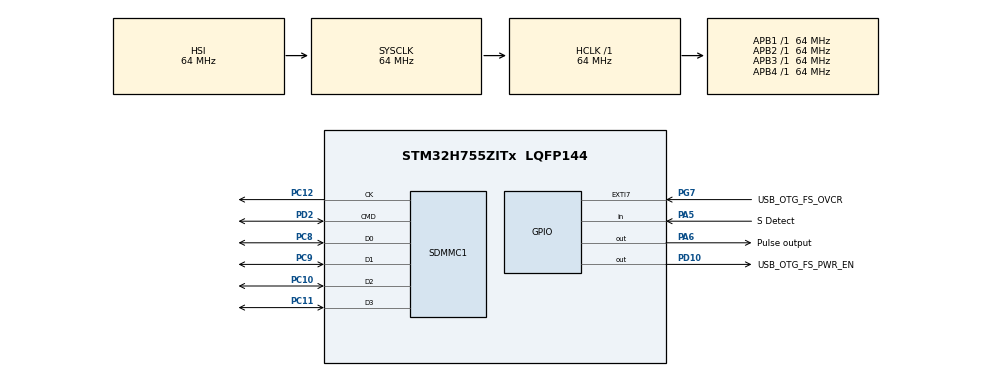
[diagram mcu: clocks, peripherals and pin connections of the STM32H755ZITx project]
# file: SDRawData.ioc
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CortexM4.IPs=FATFS_M4\:I,FREERTOS_M4\:I,IWDG2\:I,RCC,WWDG2\:I,DMA,BDMA,MDMA,NVIC2\:I,USART3,DEBUG,PDM2PCM_M4\:I,PWR,RESMGR_UTILITY,SYS_M4\:I,USB_DEVICE_M4\:I,USB_HOST_M4\:I,CORTEX_M4\:I,GPIO,OPENAMP_M4\:I,VREFBUF,NUCLEO-H755ZI-Q
CortexM7.IPs=FATFS_M7\:I,FREERTOS_M7\:I,IWDG1\:I,RCC\:I,WWDG1\:I,DMA\:I,BDMA\:I,MDMA\:I,NVIC1\:I,USART3\:I,USB_OTG_FS\:I,USB_OTG_FS1\:I,SYS\:I,CORTEX_M7\:I,DEBUG\:I,PDM2PCM_M7\:I,PWR\:I,RESMGR_UTILITY\:I,USB_DEVICE_M7\:I,USB_HOST_M7\:I,GPIO\:I,OPENAMP_M7\:I,VREFBUF\:I,NUCLEO-H755ZI-Q\:I,SDMMC1\:I
CortexM7.Pins=PA5,PA6
Mcu.Family=STM32H7
Mcu.Name=STM32H755ZITx
Mcu.Package=LQFP144
NUCLEO-H755ZI-Q.BUTTON=1
NUCLEO-H755ZI-Q.LD1=true
NUCLEO-H755ZI-Q.LD2=true
NUCLEO-H755ZI-Q.LD3=true
NUCLEO-H755ZI-Q.VCP=true
NVIC1.EXTI15_10_IRQn=true\:0\:0\:false\:false\:true\:false\:true\:true
NVIC1.PriorityGroup=NVIC_PRIORITYGROUP_4
NVIC1.SDMMC1_IRQn=true\:0\:0\:false\:false\:true\:true\:true\:true
NVIC2.PriorityGroup=NVIC_PRIORITYGROUP_4
PA1.PinAttribute=CortexM4
PA1.Signal=ETH_REF_CLK
PA11.PinAttribute=CortexM7
PA11.Signal=USB_OTG_FS_DM
PA12.PinAttribute=CortexM7
PA12.Signal=USB_OTG_FS_DP
PA2.PinAttribute=CortexM4
PA2.Signal=ETH_MDIO
PA5.GPIO_Label=S Detect
PA5.PinAttribute=CortexM7
PA5.Signal=GPIO_Input
PA6.GPIO_Label=Pulse output
PA6.GPIO_Speed=GPIO_SPEED_FREQ_VERY_HIGH
PA6.PinAttribute=CortexM7
PA6.Signal=GPIO_Output
PA7.PinAttribute=CortexM4
PA7.Signal=ETH_CRS_DV
PA8.PinAttribute=CortexM7
PA8.Signal=USB_OTG_FS_SOF
PA9.PinAttribute=CortexM7
PA9.Signal=USB_OTG_FS_VBUS
PB13.PinAttribute=CortexM4
PB13.Signal=ETH_TXD1
PC1.PinAttribute=CortexM4
PC1.Signal=ETH_MDC
PC10.GPIO_PuPd=GPIO_PULLUP
PC10.Mode=SD_4_bits_Wide_bus
PC10.PinAttribute=CortexM7
PC10.Signal=SDMMC1_D2
PC11.GPIO_PuPd=GPIO_PULLUP
PC11.Mode=SD_4_bits_Wide_bus
PC11.PinAttribute=CortexM7
PC11.Signal=SDMMC1_D3
PC12.GPIO_PuPd=GPIO_PULLUP
PC12.Mode=SD_4_bits_Wide_bus
PC12.PinAttribute=CortexM7
PC12.Signal=SDMMC1_CK
PC14-OSC32_IN\ (OSC32_IN).Mode=LSE-External-Oscillator
PC14-OSC32_IN\ (OSC32_IN).PinAttribute=Free
PC14-OSC32_IN\ (OSC32_IN).Signal=RCC_OSC32_IN
PC15-OSC32_OUT\ (OSC32_OUT).Mode=LSE-External-Oscillator
PC15-OSC32_OUT\ (OSC32_OUT).PinAttribute=Free
PC15-OSC32_OUT\ (OSC32_OUT).Signal=RCC_OSC32_OUT
PC4.PinAttribute=CortexM4
PC4.Signal=ETH_RXD0
PC5.PinAttribute=CortexM4
PC5.Signal=ETH_RXD1
PC8.GPIO_PuPd=GPIO_PULLUP
PC8.Mode=SD_4_bits_Wide_bus
PC8.PinAttribute=CortexM7
PC8.Signal=SDMMC1_D0
PC9.GPIO_PuPd=GPIO_PULLUP
PC9.Mode=SD_4_bits_Wide_bus
PC9.PinAttribute=CortexM7
PC9.Signal=SDMMC1_D1
PD10.GPIO_Label=USB_OTG_FS_PWR_EN
PD10.PinAttribute=Free
PD10.Signal=GPIO_Output
PD2.GPIO_PuPd=GPIO_PULLUP
PD2.Mode=SD_4_bits_Wide_bus
PD2.PinAttribute=CortexM7
PD2.Signal=SDMMC1_CMD
PD8.Signal=USART3_TX
PD9.Signal=USART3_RX
PG11.PinAttribute=CortexM4
PG11.Signal=ETH_TX_EN
PG13.PinAttribute=CortexM4
PG13.Signal=ETH_TXD0
PG7.GPIO_Label=USB_OTG_FS_OVCR
PG7.PinAttribute=Free
PG7.Signal=GPXTI7
PH0-OSC_IN\ (PH0).Mode=HSE-External-Clock-Source
PH0-OSC_IN\ (PH0).PinAttribute=Free
PH0-OSC_IN\ (PH0).Signal=RCC_OSC_IN
PH1-OSC_OUT\ (PH1).PinAttribute=Free
PH1-OSC_OUT\ (PH1).Signal=RCC_OSC_OUT
ProjectManager.HeapSize=M4-0x200,M7-0x400
ProjectManager.StackSize=M4-0x400,M7-0x1000
ProjectManager.TargetToolchain=STM32CubeIDE
RCC.ADCFreq_Value=129000000
RCC.APB1Freq_Value=64000000
RCC.APB2Freq_Value=64000000
RCC.APB3Freq_Value=64000000
RCC.APB4Freq_Value=64000000
RCC.CortexFreq_Value=64000000
RCC.DIVM1=4
RCC.DIVN1=9
RCC.HCLKFreq_Value=64000000
RCC.HSE_VALUE=25000000
RCC.PLL2FRACN=0
RCC.PLL3FRACN=0
RCC.PLLFRACN=3072
RCC.SYSCLKFreq_VALUE=64000000
RCC.SupplySource=PWR_DIRECT_SMPS_SUPPLY
RCC.USBFreq_Value=75000000
SDMMC1.ClockDiv=6
SDMMC1.HardwareFlowControl=SDMMC_HARDWARE_FLOW_CONTROL_ENABLE
VP_NUCLEO-H755ZI-Q_VS_BSP_COMMON.Mode=COMMON
VP_SYS_M4_VS_Systick.Mode=SysTick
board=NUCLEO-H755ZI-Q

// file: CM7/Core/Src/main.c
/* USER CODE BEGIN Header */
/**
  ******************************************************************************
  * @file           : main.c
  * @brief          : Main program body
  ******************************************************************************
  * @attention
  *
  * Copyright (c) 2026 STMicroelectronics.
  * All rights reserved.
  *
  * This software is licensed under terms that can be found in the LICENSE file
  * in the root directory of this software component.
  * If no LICENSE file comes with this software, it is provided AS-IS.
  *
  ******************************************************************************
  */
/* USER CODE END Header */
#include "main.h"
#include "sdmmc.h"
#include "gpio.h"

/* USER CODE BEGIN PD */

/* DUAL_CORE_BOOT_SYNC_SEQUENCE: Define for dual core boot synchronization    */
/*                             demonstration code based on hardware semaphore */
/* This define is present in both CM7/CM4 projects                            */
/* To comment when developping/debugging on a single core                     */
//#define DUAL_CORE_BOOT_SYNC_SEQUENCE

#if defined(DUAL_CORE_BOOT_SYNC_SEQUENCE)
#ifndef HSEM_ID_0
#define HSEM_ID_0 (0U) /* HW semaphore 0*/
#endif
#endif /* DUAL_CORE_BOOT_SYNC_SEQUENCE */

/* USER CODE END PD */

COM_InitTypeDef BspCOMInit;

/* USER CODE BEGIN PV */

/* 借用自 sdmmc.c 的 SD 卡控制結構體 */
extern SD_HandleTypeDef hsd1;

/* 宣告測試結果與狀態變數 */
HAL_StatusTypeDef sd_res;
uint32_t start_sector = 20000; // 盲寫的起始實體磁區（跳過前段引導區，非常安全）

/* 核心防禦：強迫 log_buffer 組態在 AXI SRAM (RAM_D1) 區域，並做 32 位元組對齊 */
uint32_t sector_count = 8; // 一次寫入 8 個扇區 (4KB)

/* 緩衝區同步放大到 4096 bytes (4KB) */
__attribute__((section(".RAM_D1"))) ALIGN_32BYTES(uint8_t log_buffer[4096]);

/* USER CODE END PV */

void SystemClock_Config(void);

int main(void)
{

/* USER CODE BEGIN Boot_Mode_Sequence_0 */
#if defined(DUAL_CORE_BOOT_SYNC_SEQUENCE)
  int32_t timeout;
#endif /* DUAL_CORE_BOOT_SYNC_SEQUENCE */
/* USER CODE END Boot_Mode_Sequence_0 */

/* USER CODE BEGIN Boot_Mode_Sequence_1 */
#if defined(DUAL_CORE_BOOT_SYNC_SEQUENCE)
  /* Wait until CPU2 boots and enters in stop mode or timeout*/
  timeout = 0xFFFF;
  while((__HAL_RCC_GET_FLAG(RCC_FLAG_D2CKRDY) != RESET) && (timeout-- > 0));
  if ( timeout < 0 )
  {
  Error_Handler();
  }
#endif /* DUAL_CORE_BOOT_SYNC_SEQUENCE */
/* USER CODE END Boot_Mode_Sequence_1 */
  /* MCU Configuration--------------------------------------------------------*/

  /* Reset of all peripherals, Initializes the Flash interface and the Systick. */
  HAL_Init();

  /* Configure the system clock */
  SystemClock_Config();
/* USER CODE BEGIN Boot_Mode_Sequence_2 */
#if defined(DUAL_CORE_BOOT_SYNC_SEQUENCE)
/* When system initialization is finished, Cortex-M7 will release Cortex-M4 by means of
HSEM notification */
/*HW semaphore Clock enable*/
__HAL_RCC_HSEM_CLK_ENABLE();
/*Take HSEM */
HAL_HSEM_FastTake(HSEM_ID_0);
/*Release HSEM in order to notify the CPU2(CM4)*/
HAL_HSEM_Release(HSEM_ID_0,0);
/* wait until CPU2 wakes up from stop mode */
timeout = 0xFFFF;
while((__HAL_RCC_GET_FLAG(RCC_FLAG_D2CKRDY) == RESET) && (timeout-- > 0));
if ( timeout < 0 )
{
Error_Handler();
}
#endif /* DUAL_CORE_BOOT_SYNC_SEQUENCE */
/* USER CODE END Boot_Mode_Sequence_2 */

  /* USER CODE BEGIN SysInit */
  /* Initialize leds */
  BSP_LED_Init(LED_GREEN);
  BSP_LED_Init(LED_YELLOW);
  BSP_LED_Init(LED_RED);
  /* USER CODE END SysInit */

  /* Initialize all configured peripherals */
  HAL_Delay(2000);

  MX_GPIO_Init();

  BSP_LED_On(LED_GREEN);
  HAL_Delay(2000);
  BSP_LED_Off(LED_GREEN);

  MX_SDMMC1_SD_Init();

  BSP_LED_On(LED_YELLOW);
  HAL_Delay(2000);
  BSP_LED_Off(LED_YELLOW);

  /* USER CODE BEGIN 2 */

  // 1. 強迫將 SD 卡與 MCU 暫存器狀態重設回初始狀態
  HAL_SD_DeInit(&hsd1);
  HAL_Delay(100); // 讓電壓與線路沉澱一下

  // 2. 重新初始化 SDMMC 硬體，確保所有中斷 Flag、DMA 狀態完全清空
  if (HAL_SD_Init(&hsd1) != HAL_OK)
  {
      BSP_LED_On(LED_RED); // 如果連重新初始化都失敗，亮紅燈卡死
      while(1);
  }

  // 1. 初始化測試資料：將 4096 位元組的緩衝區填入固定數值（例如 0xAA）
  for(uint16_t idx = 0; idx < 4096; idx++)
  {
      log_buffer[idx] = 0xAA;
  }

  // 2. 開機安全延遲，點亮綠燈 2 秒，隨後熄滅，準備進入測試
  BSP_LED_On(LED_GREEN);
  HAL_Delay(2000);
  BSP_LED_Off(LED_GREEN);

  hsd1.State = HAL_SD_STATE_READY;

  volatile uint32_t i = 0;

  // 4. 開始連續 多 次的實體磁區全速寫入測試
  for(i = 0; i < 100; i++)
  {
      // 【防禦守衛】雖然去掉了 while，但在發動下一輪傳輸前，
      // 必須確保硬體狀態已經從上一次的中斷中恢復為 READY。
      while(hsd1.State != HAL_SD_STATE_READY)
      {
          __NOP();
      }

      uint32_t card_ready_timeout = 0x3FFFFFF;
      while(card_ready_timeout--)
      {
          // 這段代碼就是在向 SD 卡發送 CMD13 詢問它燒完沒。
          if (HAL_SD_GetCardState(&hsd1) == HAL_SD_CARD_TRANSFER)
          {
              break;
          }
          __NOP();
      }
      if(card_ready_timeout == 0)
      {
          BSP_LED_On(LED_RED); // 卡片物理逾時鎖死
          while(1);
      }

      BSP_LED_On(LED_YELLOW); // 點亮黃燈代表進入傳輸階段  MCU 將資料傳輸到 SD 卡的 FIFO ，不包含 真正寫入到 SD 卡的 flash

      /* ==================== 【示波器觀測起點】 ==================== */
      HAL_GPIO_WritePin(GPIOA, GPIO_PIN_6, GPIO_PIN_SET); // PA6 拉高

      // 確保 IDMA 抓到的資料絕對 100% 寫入完成
      __DSB();

      hsd1.ErrorCode = HAL_SD_ERROR_NONE;

      // 修正後：讓起始地址隨著 i 跨步前進，每一次前進 8 個磁區 (i * sector_count)
      sd_res = HAL_SD_WriteBlocks_DMA(&hsd1, log_buffer, start_sector + (i * sector_count), sector_count);

      // 如果發射失敗（例如總線衝突或參數錯誤），立刻亮紅燈卡死
      if(sd_res != HAL_OK)
      {
          BSP_LED_On(LED_RED);
          while(1);
      }

      /* ==================== 【示波器觀測終點】 ==================== */

  }

  // 以下兩個 while 是為了確保 SD 卡 寫入都完成，讓三個 LED 都點亮 所設置，並不是必要的。
  /* ========================================================
     【最後一哩路守衛】：強迫等待最後一次 (i=9) 的 DMA 中斷完全結束
     ======================================================== */
  while(hsd1.State != HAL_SD_STATE_READY)
  {
      __NOP();
  }

  // 確保最後一次卡片內部的 Flash 也燒錄完成了
  while(HAL_SD_GetCardState(&hsd1) != HAL_SD_CARD_TRANSFER)
  {
      __NOP();
  }

  // 10 次寫入全部真正安全完工！此時點亮三燈，黃燈就不會再被中斷熄滅了！
  BSP_LED_On(LED_GREEN);
  BSP_LED_On(LED_YELLOW);
  BSP_LED_On(LED_RED);

  /* USER CODE END 2 */

  /* Initialize USER push-button, will be used to trigger an interrupt each time it's pressed.*/
  BSP_PB_Init(BUTTON_USER, BUTTON_MODE_EXTI);

  /* Initialize COM1 port (115200, 8 bits (7-bit data + 1 stop bit), no parity */
  BspCOMInit.BaudRate   = 115200;
  BspCOMInit.WordLength = COM_WORDLENGTH_8B;
  BspCOMInit.StopBits   = COM_STOPBITS_1;
  BspCOMInit.Parity     = COM_PARITY_NONE;
  BspCOMInit.HwFlowCtl  = COM_HWCONTROL_NONE;
  if (BSP_COM_Init(COM1, &BspCOMInit) != BSP_ERROR_NONE)
  {
    Error_Handler();
  }

  /* Infinite loop */
  while (1)
  {

  }
}

void SystemClock_Config(void)
{
  RCC_OscInitTypeDef RCC_OscInitStruct = {0};
  RCC_ClkInitTypeDef RCC_ClkInitStruct = {0};

  /** Supply configuration update enable
  */
  HAL_PWREx_ConfigSupply(PWR_DIRECT_SMPS_SUPPLY);

  /** Configure the main internal regulator output voltage
  */
  __HAL_PWR_VOLTAGESCALING_CONFIG(PWR_REGULATOR_VOLTAGE_SCALE3);

  while(!__HAL_PWR_GET_FLAG(PWR_FLAG_VOSRDY)) {}

  /** Initializes the RCC Oscillators according to the specified parameters
  * in the RCC_OscInitTypeDef structure.
  */
  RCC_OscInitStruct.OscillatorType = RCC_OSCILLATORTYPE_HSI;
  RCC_OscInitStruct.HSIState = RCC_HSI_DIV1;
  RCC_OscInitStruct.HSICalibrationValue = RCC_HSICALIBRATION_DEFAULT;
  RCC_OscInitStruct.PLL.PLLState = RCC_PLL_ON;
  RCC_OscInitStruct.PLL.PLLSource = RCC_PLLSOURCE_HSI;
  RCC_OscInitStruct.PLL.PLLM = 4;
  RCC_OscInitStruct.PLL.PLLN = 9;
  RCC_OscInitStruct.PLL.PLLP = 2;
  RCC_OscInitStruct.PLL.PLLQ = 2;
  RCC_OscInitStruct.PLL.PLLR = 2;
  RCC_OscInitStruct.PLL.PLLRGE = RCC_PLL1VCIRANGE_3;
  RCC_OscInitStruct.PLL.PLLVCOSEL = RCC_PLL1VCOMEDIUM;
  RCC_OscInitStruct.PLL.PLLFRACN = 3072;
  if (HAL_RCC_OscConfig(&RCC_OscInitStruct) != HAL_OK)
  {
    Error_Handler();
  }

  /** Initializes the CPU, AHB and APB buses clocks
  */
  RCC_ClkInitStruct.ClockType = RCC_CLOCKTYPE_HCLK|RCC_CLOCKTYPE_SYSCLK
                              |RCC_CLOCKTYPE_PCLK1|RCC_CLOCKTYPE_PCLK2
                              |RCC_CLOCKTYPE_D3PCLK1|RCC_CLOCKTYPE_D1PCLK1;
  RCC_ClkInitStruct.SYSCLKSource = RCC_SYSCLKSOURCE_HSI;
  RCC_ClkInitStruct.SYSCLKDivider = RCC_SYSCLK_DIV1;
  RCC_ClkInitStruct.AHBCLKDivider = RCC_HCLK_DIV1;
  RCC_ClkInitStruct.APB3CLKDivider = RCC_APB3_DIV1;
  RCC_ClkInitStruct.APB1CLKDivider = RCC_APB1_DIV1;
  RCC_ClkInitStruct.APB2CLKDivider = RCC_APB2_DIV1;
  RCC_ClkInitStruct.APB4CLKDivider = RCC_APB4_DIV1;

  if (HAL_RCC_ClockConfig(&RCC_ClkInitStruct, FLASH_LATENCY_1) != HAL_OK)
  {
    Error_Handler();
  }
}

/* USER CODE BEGIN 4 */

/**
  * @brief IDMA 中斷程式 ISR
  * @retval None
  */
// 當 DMA 把 4096 位元組完全 『傳輸』 到  SD 卡 的 FIFO 之後，硬體中斷會自動跳進這裡
// 要注意區隔，傳輸到 SD 卡的 FIFO 是一件事，從 FIFO 把資料寫到 SD 卡內的 flash 又是一件事情，兩件事情各自佔用時間
// 傳輸到 SD 卡的 FIFO 目前量測的時間是 0.4ms
void HAL_SD_TxCpltCallback(SD_HandleTypeDef *hsd)
{
    if(hsd->Instance == SDMMC1)
    {
        /* ==================== 【示波器觀測終點】 ==================== */
        HAL_GPIO_WritePin(GPIOA, GPIO_PIN_6, GPIO_PIN_RESET); // PA6 在這裡拉低！

        BSP_LED_Off(LED_YELLOW); // 熄滅黃燈，代表這趟總線傳輸任務搞定
    }
}

void HAL_SD_ErrorCallback(SD_HandleTypeDef *hsd)
{
    // 如果傳輸中出錯（例如 FIFO 溢出），會跳進這裡
}
/* USER CODE END 4 */
/* USER CODE END 4 */

void Error_Handler(void)
{
  __disable_irq();
  while (1)
  {
  }
}
